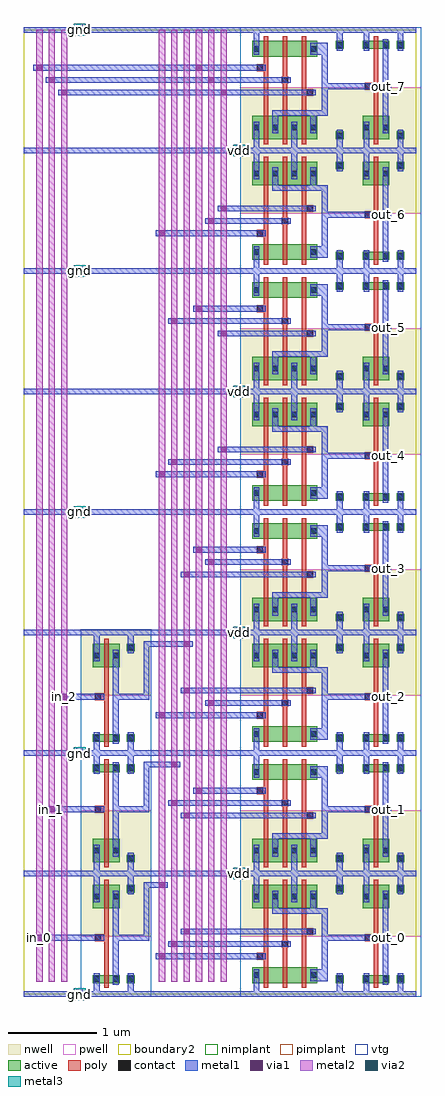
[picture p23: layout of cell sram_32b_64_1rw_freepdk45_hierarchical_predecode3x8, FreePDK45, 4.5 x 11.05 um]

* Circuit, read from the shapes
.subckt sram_32b_64_1rw_freepdk45_hierarchical_predecode3x8 gnd in_0 in_1 in_2 out_0 out_1 out_2 out_3 out_4 out_5 out_6 out_7 vdd
M1 sram_32b_64_1rw_freepdk45_and3_dec_3/A in_0 gnd gnd nfet w=0.09u l=0.05u
M2 sram_32b_64_1rw_freepdk45_and3_dec_3/B in_1 gnd gnd nfet w=0.09u l=0.05u
M3 sram_32b_64_1rw_freepdk45_and3_dec_3/C in_2 gnd gnd nfet w=0.09u l=0.05u
M4 sram_32b_64_1rw_freepdk45_and3_dec_3/sram_32b_64_1rw_freepdk45_pnand3_0/sram_32b_64_1rw_freepdk45_nmos_m1_w0_180_sm1_dactive_3/D sram_32b_64_1rw_freepdk45_and3_dec_3/A gnd gnd nfet w=0.18u l=0.05u
M5 sram_32b_64_1rw_freepdk45_and3_dec_4/sram_32b_64_1rw_freepdk45_pnand3_0/sram_32b_64_1rw_freepdk45_nmos_m1_w0_180_sm1_dactive_3/D in_0 gnd gnd nfet w=0.18u l=0.05u
M6 sram_32b_64_1rw_freepdk45_and3_dec_5/sram_32b_64_1rw_freepdk45_pnand3_0/sram_32b_64_1rw_freepdk45_nmos_m1_w0_180_sm1_dactive_3/D sram_32b_64_1rw_freepdk45_and3_dec_3/A gnd gnd nfet w=0.18u l=0.05u
M7 sram_32b_64_1rw_freepdk45_and3_dec_6/sram_32b_64_1rw_freepdk45_pnand3_0/sram_32b_64_1rw_freepdk45_nmos_m1_w0_180_sm1_dactive_3/D in_0 gnd gnd nfet w=0.18u l=0.05u
M8 sram_32b_64_1rw_freepdk45_and3_dec_7/sram_32b_64_1rw_freepdk45_pnand3_0/sram_32b_64_1rw_freepdk45_nmos_m1_w0_180_sm1_dactive_3/D sram_32b_64_1rw_freepdk45_and3_dec_3/A gnd gnd nfet w=0.18u l=0.05u
M9 sram_32b_64_1rw_freepdk45_and3_dec_8/sram_32b_64_1rw_freepdk45_pnand3_0/sram_32b_64_1rw_freepdk45_nmos_m1_w0_180_sm1_dactive_3/D in_0 gnd gnd nfet w=0.18u l=0.05u
M10 sram_32b_64_1rw_freepdk45_and3_dec_9/sram_32b_64_1rw_freepdk45_pnand3_0/sram_32b_64_1rw_freepdk45_nmos_m1_w0_180_sm1_dactive_3/D sram_32b_64_1rw_freepdk45_and3_dec_3/A gnd gnd nfet w=0.18u l=0.05u
M11 sram_32b_64_1rw_freepdk45_and3_dec_10/sram_32b_64_1rw_freepdk45_pnand3_0/sram_32b_64_1rw_freepdk45_nmos_m1_w0_180_sm1_dactive_3/D in_0 gnd gnd nfet w=0.18u l=0.05u
M12 sram_32b_64_1rw_freepdk45_and3_dec_3/sram_32b_64_1rw_freepdk45_pnand3_0/sram_32b_64_1rw_freepdk45_nmos_m1_w0_180_sactive_dactive_4/D sram_32b_64_1rw_freepdk45_and3_dec_3/B sram_32b_64_1rw_freepdk45_and3_dec_3/sram_32b_64_1rw_freepdk45_pnand3_0/sram_32b_64_1rw_freepdk45_nmos_m1_w0_180_sm1_dactive_3/D gnd nfet w=0.18u l=0.05u
M13 sram_32b_64_1rw_freepdk45_and3_dec_4/sram_32b_64_1rw_freepdk45_pnand3_0/sram_32b_64_1rw_freepdk45_nmos_m1_w0_180_sactive_dactive_4/D sram_32b_64_1rw_freepdk45_and3_dec_3/B sram_32b_64_1rw_freepdk45_and3_dec_4/sram_32b_64_1rw_freepdk45_pnand3_0/sram_32b_64_1rw_freepdk45_nmos_m1_w0_180_sm1_dactive_3/D gnd nfet w=0.18u l=0.05u
M14 sram_32b_64_1rw_freepdk45_and3_dec_5/sram_32b_64_1rw_freepdk45_pnand3_0/sram_32b_64_1rw_freepdk45_nmos_m1_w0_180_sactive_dactive_4/D in_1 sram_32b_64_1rw_freepdk45_and3_dec_5/sram_32b_64_1rw_freepdk45_pnand3_0/sram_32b_64_1rw_freepdk45_nmos_m1_w0_180_sm1_dactive_3/D gnd nfet w=0.18u l=0.05u
M15 sram_32b_64_1rw_freepdk45_and3_dec_6/sram_32b_64_1rw_freepdk45_pnand3_0/sram_32b_64_1rw_freepdk45_nmos_m1_w0_180_sactive_dactive_4/D in_1 sram_32b_64_1rw_freepdk45_and3_dec_6/sram_32b_64_1rw_freepdk45_pnand3_0/sram_32b_64_1rw_freepdk45_nmos_m1_w0_180_sm1_dactive_3/D gnd nfet w=0.18u l=0.05u
M16 sram_32b_64_1rw_freepdk45_and3_dec_7/sram_32b_64_1rw_freepdk45_pnand3_0/sram_32b_64_1rw_freepdk45_nmos_m1_w0_180_sactive_dactive_4/D sram_32b_64_1rw_freepdk45_and3_dec_3/B sram_32b_64_1rw_freepdk45_and3_dec_7/sram_32b_64_1rw_freepdk45_pnand3_0/sram_32b_64_1rw_freepdk45_nmos_m1_w0_180_sm1_dactive_3/D gnd nfet w=0.18u l=0.05u
M17 sram_32b_64_1rw_freepdk45_and3_dec_8/sram_32b_64_1rw_freepdk45_pnand3_0/sram_32b_64_1rw_freepdk45_nmos_m1_w0_180_sactive_dactive_4/D sram_32b_64_1rw_freepdk45_and3_dec_3/B sram_32b_64_1rw_freepdk45_and3_dec_8/sram_32b_64_1rw_freepdk45_pnand3_0/sram_32b_64_1rw_freepdk45_nmos_m1_w0_180_sm1_dactive_3/D gnd nfet w=0.18u l=0.05u
M18 sram_32b_64_1rw_freepdk45_and3_dec_9/sram_32b_64_1rw_freepdk45_pnand3_0/sram_32b_64_1rw_freepdk45_nmos_m1_w0_180_sactive_dactive_4/D in_1 sram_32b_64_1rw_freepdk45_and3_dec_9/sram_32b_64_1rw_freepdk45_pnand3_0/sram_32b_64_1rw_freepdk45_nmos_m1_w0_180_sm1_dactive_3/D gnd nfet w=0.18u l=0.05u
M19 sram_32b_64_1rw_freepdk45_and3_dec_10/sram_32b_64_1rw_freepdk45_pnand3_0/sram_32b_64_1rw_freepdk45_nmos_m1_w0_180_sactive_dactive_4/D in_1 sram_32b_64_1rw_freepdk45_and3_dec_10/sram_32b_64_1rw_freepdk45_pnand3_0/sram_32b_64_1rw_freepdk45_nmos_m1_w0_180_sm1_dactive_3/D gnd nfet w=0.18u l=0.05u
M20 sram_32b_64_1rw_freepdk45_and3_dec_3/sram_32b_64_1rw_freepdk45_pinv_1/A sram_32b_64_1rw_freepdk45_and3_dec_3/C sram_32b_64_1rw_freepdk45_and3_dec_3/sram_32b_64_1rw_freepdk45_pnand3_0/sram_32b_64_1rw_freepdk45_nmos_m1_w0_180_sactive_dactive_4/D gnd nfet w=0.18u l=0.05u
M21 sram_32b_64_1rw_freepdk45_and3_dec_4/sram_32b_64_1rw_freepdk45_pinv_1/A sram_32b_64_1rw_freepdk45_and3_dec_3/C sram_32b_64_1rw_freepdk45_and3_dec_4/sram_32b_64_1rw_freepdk45_pnand3_0/sram_32b_64_1rw_freepdk45_nmos_m1_w0_180_sactive_dactive_4/D gnd nfet w=0.18u l=0.05u
M22 sram_32b_64_1rw_freepdk45_and3_dec_5/sram_32b_64_1rw_freepdk45_pinv_1/A sram_32b_64_1rw_freepdk45_and3_dec_3/C sram_32b_64_1rw_freepdk45_and3_dec_5/sram_32b_64_1rw_freepdk45_pnand3_0/sram_32b_64_1rw_freepdk45_nmos_m1_w0_180_sactive_dactive_4/D gnd nfet w=0.18u l=0.05u
M23 sram_32b_64_1rw_freepdk45_and3_dec_6/sram_32b_64_1rw_freepdk45_pinv_1/A sram_32b_64_1rw_freepdk45_and3_dec_3/C sram_32b_64_1rw_freepdk45_and3_dec_6/sram_32b_64_1rw_freepdk45_pnand3_0/sram_32b_64_1rw_freepdk45_nmos_m1_w0_180_sactive_dactive_4/D gnd nfet w=0.18u l=0.05u
M24 sram_32b_64_1rw_freepdk45_and3_dec_7/sram_32b_64_1rw_freepdk45_pinv_1/A in_2 sram_32b_64_1rw_freepdk45_and3_dec_7/sram_32b_64_1rw_freepdk45_pnand3_0/sram_32b_64_1rw_freepdk45_nmos_m1_w0_180_sactive_dactive_4/D gnd nfet w=0.18u l=0.05u
M25 sram_32b_64_1rw_freepdk45_and3_dec_8/sram_32b_64_1rw_freepdk45_pinv_1/A in_2 sram_32b_64_1rw_freepdk45_and3_dec_8/sram_32b_64_1rw_freepdk45_pnand3_0/sram_32b_64_1rw_freepdk45_nmos_m1_w0_180_sactive_dactive_4/D gnd nfet w=0.18u l=0.05u
M26 sram_32b_64_1rw_freepdk45_and3_dec_9/sram_32b_64_1rw_freepdk45_pinv_1/A in_2 sram_32b_64_1rw_freepdk45_and3_dec_9/sram_32b_64_1rw_freepdk45_pnand3_0/sram_32b_64_1rw_freepdk45_nmos_m1_w0_180_sactive_dactive_4/D gnd nfet w=0.18u l=0.05u
M27 sram_32b_64_1rw_freepdk45_and3_dec_10/sram_32b_64_1rw_freepdk45_pinv_1/A in_2 sram_32b_64_1rw_freepdk45_and3_dec_10/sram_32b_64_1rw_freepdk45_pnand3_0/sram_32b_64_1rw_freepdk45_nmos_m1_w0_180_sactive_dactive_4/D gnd nfet w=0.18u l=0.05u
M28 out_0 sram_32b_64_1rw_freepdk45_and3_dec_3/sram_32b_64_1rw_freepdk45_pinv_1/A gnd gnd nfet w=0.09u l=0.05u
M29 out_1 sram_32b_64_1rw_freepdk45_and3_dec_4/sram_32b_64_1rw_freepdk45_pinv_1/A gnd gnd nfet w=0.09u l=0.05u
M30 out_2 sram_32b_64_1rw_freepdk45_and3_dec_5/sram_32b_64_1rw_freepdk45_pinv_1/A gnd gnd nfet w=0.09u l=0.05u
M31 out_3 sram_32b_64_1rw_freepdk45_and3_dec_6/sram_32b_64_1rw_freepdk45_pinv_1/A gnd gnd nfet w=0.09u l=0.05u
M32 out_4 sram_32b_64_1rw_freepdk45_and3_dec_7/sram_32b_64_1rw_freepdk45_pinv_1/A gnd gnd nfet w=0.09u l=0.05u
M33 out_5 sram_32b_64_1rw_freepdk45_and3_dec_8/sram_32b_64_1rw_freepdk45_pinv_1/A gnd gnd nfet w=0.09u l=0.05u
M34 out_6 sram_32b_64_1rw_freepdk45_and3_dec_9/sram_32b_64_1rw_freepdk45_pinv_1/A gnd gnd nfet w=0.09u l=0.05u
M35 out_7 sram_32b_64_1rw_freepdk45_and3_dec_10/sram_32b_64_1rw_freepdk45_pinv_1/A gnd gnd nfet w=0.09u l=0.05u
M36 sram_32b_64_1rw_freepdk45_and3_dec_3/A in_0 vdd vdd pfet w=0.27u l=0.05u
M37 sram_32b_64_1rw_freepdk45_and3_dec_3/B in_1 vdd vdd pfet w=0.27u l=0.05u
M38 sram_32b_64_1rw_freepdk45_and3_dec_3/C in_2 vdd vdd pfet w=0.27u l=0.05u
M39 sram_32b_64_1rw_freepdk45_and3_dec_3/sram_32b_64_1rw_freepdk45_pinv_1/A sram_32b_64_1rw_freepdk45_and3_dec_3/A vdd vdd pfet w=0.27u l=0.05u
M40 sram_32b_64_1rw_freepdk45_and3_dec_4/sram_32b_64_1rw_freepdk45_pinv_1/A in_0 vdd vdd pfet w=0.27u l=0.05u
M41 sram_32b_64_1rw_freepdk45_and3_dec_5/sram_32b_64_1rw_freepdk45_pinv_1/A sram_32b_64_1rw_freepdk45_and3_dec_3/A vdd vdd pfet w=0.27u l=0.05u
M42 sram_32b_64_1rw_freepdk45_and3_dec_6/sram_32b_64_1rw_freepdk45_pinv_1/A in_0 vdd vdd pfet w=0.27u l=0.05u
M43 sram_32b_64_1rw_freepdk45_and3_dec_7/sram_32b_64_1rw_freepdk45_pinv_1/A sram_32b_64_1rw_freepdk45_and3_dec_3/A vdd vdd pfet w=0.27u l=0.05u
M44 sram_32b_64_1rw_freepdk45_and3_dec_8/sram_32b_64_1rw_freepdk45_pinv_1/A in_0 vdd vdd pfet w=0.27u l=0.05u
M45 sram_32b_64_1rw_freepdk45_and3_dec_9/sram_32b_64_1rw_freepdk45_pinv_1/A sram_32b_64_1rw_freepdk45_and3_dec_3/A vdd vdd pfet w=0.27u l=0.05u
M46 sram_32b_64_1rw_freepdk45_and3_dec_10/sram_32b_64_1rw_freepdk45_pinv_1/A in_0 vdd vdd pfet w=0.27u l=0.05u
M47 vdd sram_32b_64_1rw_freepdk45_and3_dec_3/B sram_32b_64_1rw_freepdk45_and3_dec_3/sram_32b_64_1rw_freepdk45_pinv_1/A vdd pfet w=0.27u l=0.05u
M48 vdd sram_32b_64_1rw_freepdk45_and3_dec_3/B sram_32b_64_1rw_freepdk45_and3_dec_4/sram_32b_64_1rw_freepdk45_pinv_1/A vdd pfet w=0.27u l=0.05u
M49 vdd in_1 sram_32b_64_1rw_freepdk45_and3_dec_5/sram_32b_64_1rw_freepdk45_pinv_1/A vdd pfet w=0.27u l=0.05u
M50 vdd in_1 sram_32b_64_1rw_freepdk45_and3_dec_6/sram_32b_64_1rw_freepdk45_pinv_1/A vdd pfet w=0.27u l=0.05u
M51 vdd sram_32b_64_1rw_freepdk45_and3_dec_3/B sram_32b_64_1rw_freepdk45_and3_dec_7/sram_32b_64_1rw_freepdk45_pinv_1/A vdd pfet w=0.27u l=0.05u
M52 vdd sram_32b_64_1rw_freepdk45_and3_dec_3/B sram_32b_64_1rw_freepdk45_and3_dec_8/sram_32b_64_1rw_freepdk45_pinv_1/A vdd pfet w=0.27u l=0.05u
M53 vdd in_1 sram_32b_64_1rw_freepdk45_and3_dec_9/sram_32b_64_1rw_freepdk45_pinv_1/A vdd pfet w=0.27u l=0.05u
M54 vdd in_1 sram_32b_64_1rw_freepdk45_and3_dec_10/sram_32b_64_1rw_freepdk45_pinv_1/A vdd pfet w=0.27u l=0.05u
M55 sram_32b_64_1rw_freepdk45_and3_dec_3/sram_32b_64_1rw_freepdk45_pinv_1/A sram_32b_64_1rw_freepdk45_and3_dec_3/C vdd vdd pfet w=0.27u l=0.05u
M56 sram_32b_64_1rw_freepdk45_and3_dec_4/sram_32b_64_1rw_freepdk45_pinv_1/A sram_32b_64_1rw_freepdk45_and3_dec_3/C vdd vdd pfet w=0.27u l=0.05u
M57 sram_32b_64_1rw_freepdk45_and3_dec_5/sram_32b_64_1rw_freepdk45_pinv_1/A sram_32b_64_1rw_freepdk45_and3_dec_3/C vdd vdd pfet w=0.27u l=0.05u
M58 sram_32b_64_1rw_freepdk45_and3_dec_6/sram_32b_64_1rw_freepdk45_pinv_1/A sram_32b_64_1rw_freepdk45_and3_dec_3/C vdd vdd pfet w=0.27u l=0.05u
M59 sram_32b_64_1rw_freepdk45_and3_dec_7/sram_32b_64_1rw_freepdk45_pinv_1/A in_2 vdd vdd pfet w=0.27u l=0.05u
M60 sram_32b_64_1rw_freepdk45_and3_dec_8/sram_32b_64_1rw_freepdk45_pinv_1/A in_2 vdd vdd pfet w=0.27u l=0.05u
M61 sram_32b_64_1rw_freepdk45_and3_dec_9/sram_32b_64_1rw_freepdk45_pinv_1/A in_2 vdd vdd pfet w=0.27u l=0.05u
M62 sram_32b_64_1rw_freepdk45_and3_dec_10/sram_32b_64_1rw_freepdk45_pinv_1/A in_2 vdd vdd pfet w=0.27u l=0.05u
M63 out_0 sram_32b_64_1rw_freepdk45_and3_dec_3/sram_32b_64_1rw_freepdk45_pinv_1/A vdd vdd pfet w=0.27u l=0.05u
M64 out_1 sram_32b_64_1rw_freepdk45_and3_dec_4/sram_32b_64_1rw_freepdk45_pinv_1/A vdd vdd pfet w=0.27u l=0.05u
M65 out_2 sram_32b_64_1rw_freepdk45_and3_dec_5/sram_32b_64_1rw_freepdk45_pinv_1/A vdd vdd pfet w=0.27u l=0.05u
M66 out_3 sram_32b_64_1rw_freepdk45_and3_dec_6/sram_32b_64_1rw_freepdk45_pinv_1/A vdd vdd pfet w=0.27u l=0.05u
M67 out_4 sram_32b_64_1rw_freepdk45_and3_dec_7/sram_32b_64_1rw_freepdk45_pinv_1/A vdd vdd pfet w=0.27u l=0.05u
M68 out_5 sram_32b_64_1rw_freepdk45_and3_dec_8/sram_32b_64_1rw_freepdk45_pinv_1/A vdd vdd pfet w=0.27u l=0.05u
M69 out_6 sram_32b_64_1rw_freepdk45_and3_dec_9/sram_32b_64_1rw_freepdk45_pinv_1/A vdd vdd pfet w=0.27u l=0.05u
M70 out_7 sram_32b_64_1rw_freepdk45_and3_dec_10/sram_32b_64_1rw_freepdk45_pinv_1/A vdd vdd pfet w=0.27u l=0.05u
.ends

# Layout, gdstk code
import gdstk
lib = gdstk.Library(unit=1e-6, precision=5e-10)
def R(c, l, rs):  # rectangles x0, y0, x1, y1
    for r in rs: c.add(gdstk.rectangle(r[:2], r[2:], *l))
def A(c, l, x, y, w, h, nx, ny, dx, dy):  # array of equal rectangles
    R(c, l, [(x+i*dx, y+j*dy, x+i*dx+w, y+j*dy+h) for i in range(nx) for j in range(ny)])
active = (1, 0)
pwell = (2, 0)
nwell = (3, 0)
nimplant = (4, 0)
pimplant = (5, 0)
vtg = (6, 0)
poly = (9, 0)
contact = (10, 0)
metal1 = (11, 0)
via1 = (12, 0)
metal2 = (13, 0)
via2 = (14, 0)
metal3 = (15, 0)
boundary2 = (239, 0)

sram_32b_64_1rw_freepdk4 = lib.new_cell('sram_32b_64_1rw_freepdk45_contact_11')
R(sram_32b_64_1rw_freepdk4, active, [(0,0.0225,0.09,0.1125)])
R(sram_32b_64_1rw_freepdk4, nwell, [(-0.055,-0.0325,0.145,0.1675)])
R(sram_32b_64_1rw_freepdk4, pimplant, [(0,0.0225,0.09,0.1125)])
R(sram_32b_64_1rw_freepdk4, contact, [(0.0125,0.035,0.0775,0.1)])
R(sram_32b_64_1rw_freepdk4, metal1, [(0.0125,0,0.0775,0.135)])
R(sram_32b_64_1rw_freepdk4, boundary2, [(-0.055,-0.0325,0.145,0.1675)])

c_sram_32b_64_1rw_freepdk4 = lib.new_cell('sram_32b_64_1rw_freepdk45_pmos_m1_w0_270_sm1_dm1_da_p')
R(c_sram_32b_64_1rw_freepdk4, active, [(0,0,0.305,0.27)])
R(c_sram_32b_64_1rw_freepdk4, nwell, [(-0.08,-0.08,0.385,0.35)])
R(c_sram_32b_64_1rw_freepdk4, pimplant, [(0,0,0.305,0.27)])
R(c_sram_32b_64_1rw_freepdk4, vtg, [(-0.08,-0.08,0.385,0.35)])
R(c_sram_32b_64_1rw_freepdk4, poly, [(0.1275,-0.055,0.1775,0.325), (0.1275,-0.055,0.1775,0.325)])
R(c_sram_32b_64_1rw_freepdk4, metal1, [(0.0125,0.0675,0.0775,0.2025), (0.2275,0.0675,0.2925,0.2025)])
R(c_sram_32b_64_1rw_freepdk4, boundary2, [(-0.08,-0.08,0.385,0.35)])
c_sram_32b_64_1rw_freepdk4.add(gdstk.Reference(sram_32b_64_1rw_freepdk4, (0,0.0675)))
c_sram_32b_64_1rw_freepdk4.add(gdstk.Reference(sram_32b_64_1rw_freepdk4, (0.215,0.0675)))
c_sram_32b_64_1rw_freepdk4.add(gdstk.Label('G', (0.1525,0.135), layer=9, texttype=0))
c_sram_32b_64_1rw_freepdk4.add(gdstk.Label('S', (0.045,0.135), layer=11, texttype=0))
c_sram_32b_64_1rw_freepdk4.add(gdstk.Label('D', (0.26,0.135), layer=11, texttype=0))

c_sram_32b_64_1rw_freepdk4_ = lib.new_cell('sram_32b_64_1rw_freepdk45_contact_10')
R(c_sram_32b_64_1rw_freepdk4_, active, [(0,0.0225,0.09,0.1125)])
R(c_sram_32b_64_1rw_freepdk4_, pwell, [(-0.055,-0.0325,0.145,0.1675)])
R(c_sram_32b_64_1rw_freepdk4_, nimplant, [(0,0.0225,0.09,0.1125)])
R(c_sram_32b_64_1rw_freepdk4_, contact, [(0.0125,0.035,0.0775,0.1)])
R(c_sram_32b_64_1rw_freepdk4_, metal1, [(0.0125,0,0.0775,0.135)])
R(c_sram_32b_64_1rw_freepdk4_, boundary2, [(-0.055,-0.0325,0.145,0.1675)])

c_sram_32b_64_1rw_freepdk4__ = lib.new_cell('sram_32b_64_1rw_freepdk45_nmos_m1_w0_090_sm1_dm1_da_p')
R(c_sram_32b_64_1rw_freepdk4__, active, [(0,0,0.305,0.09)])
R(c_sram_32b_64_1rw_freepdk4__, pwell, [(-0.08,-0.08,0.385,0.17)])
R(c_sram_32b_64_1rw_freepdk4__, nimplant, [(0,0,0.305,0.09)])
R(c_sram_32b_64_1rw_freepdk4__, vtg, [(-0.08,-0.08,0.385,0.17)])
R(c_sram_32b_64_1rw_freepdk4__, poly, [(0.1275,-0.055,0.1775,0.145), (0.1275,-0.055,0.1775,0.145)])
R(c_sram_32b_64_1rw_freepdk4__, metal1, [(0.0125,-0.0225,0.0775,0.1125), (0.2275,-0.0225,0.2925,0.1125)])
R(c_sram_32b_64_1rw_freepdk4__, boundary2, [(-0.08,-0.08,0.385,0.17)])
c_sram_32b_64_1rw_freepdk4__.add(gdstk.Reference(c_sram_32b_64_1rw_freepdk4_, (0,-0.0225)))
c_sram_32b_64_1rw_freepdk4__.add(gdstk.Reference(c_sram_32b_64_1rw_freepdk4_, (0.215,-0.0225)))
c_sram_32b_64_1rw_freepdk4__.add(gdstk.Label('G', (0.1525,0.045), layer=9, texttype=0))
c_sram_32b_64_1rw_freepdk4__.add(gdstk.Label('S', (0.045,0.045), layer=11, texttype=0))
c_sram_32b_64_1rw_freepdk4__.add(gdstk.Label('D', (0.26,0.045), layer=11, texttype=0))

c_sram_32b_64_1rw_freepdk4___ = lib.new_cell('sram_32b_64_1rw_freepdk45_contact_12')
R(c_sram_32b_64_1rw_freepdk4___, active, [(0,0.0225,0.09,0.1125)])
R(c_sram_32b_64_1rw_freepdk4___, nwell, [(-0.055,-0.0325,0.145,0.1675)])
R(c_sram_32b_64_1rw_freepdk4___, nimplant, [(0,0.0225,0.09,0.1125)])
R(c_sram_32b_64_1rw_freepdk4___, contact, [(0.0125,0.035,0.0775,0.1)])
R(c_sram_32b_64_1rw_freepdk4___, metal1, [(0.0125,0,0.0775,0.135)])
R(c_sram_32b_64_1rw_freepdk4___, boundary2, [(-0.055,-0.0325,0.145,0.1675)])

c_sram_32b_64_1rw_freepdk4____ = lib.new_cell('sram_32b_64_1rw_freepdk45_contact_13')
R(c_sram_32b_64_1rw_freepdk4____, active, [(0,0.0225,0.09,0.1125)])
R(c_sram_32b_64_1rw_freepdk4____, pwell, [(-0.055,-0.0325,0.145,0.1675)])
R(c_sram_32b_64_1rw_freepdk4____, pimplant, [(0,0.0225,0.09,0.1125)])
R(c_sram_32b_64_1rw_freepdk4____, contact, [(0.0125,0.035,0.0775,0.1)])
R(c_sram_32b_64_1rw_freepdk4____, metal1, [(0.0125,0,0.0775,0.135)])
R(c_sram_32b_64_1rw_freepdk4____, boundary2, [(-0.055,-0.0325,0.145,0.1675)])

c_sram_32b_64_1rw_freepdk4_____ = lib.new_cell('sram_32b_64_1rw_freepdk45_contact_14')
R(c_sram_32b_64_1rw_freepdk4_____, poly, [(0.03,0,0.105,0.075)])
R(c_sram_32b_64_1rw_freepdk4_____, contact, [(0.035,0.005,0.1,0.07)])
R(c_sram_32b_64_1rw_freepdk4_____, metal1, [(0,0.005,0.135,0.07)])
R(c_sram_32b_64_1rw_freepdk4_____, boundary2, [(0,0,0.135,0.075)])

c_sram_32b_64_1rw_freepdk4______ = lib.new_cell('sram_32b_64_1rw_freepdk45_pinv')
R(c_sram_32b_64_1rw_freepdk4______, pwell, [(-0.055,-0.0325,0.7425,0.655)])
R(c_sram_32b_64_1rw_freepdk4______, nwell, [(-0.055,0.655,0.7425,1.4)])
R(c_sram_32b_64_1rw_freepdk4______, vtg, [(-0.055,-0.0325,0.7425,0.655), (-0.055,0.655,0.7425,1.4)])
R(c_sram_32b_64_1rw_freepdk4______, poly, [(0.2075,0.27,0.2575,0.915), (0.14,0.6,0.2075,0.675)])
R(c_sram_32b_64_1rw_freepdk4______, metal1, [(0,-0.0325,0.6875,0.0325), (0.0925,-0.0325,0.1575,0.1025), (0.4775,0,0.5425,0.17), (0.3075,0.1025,0.3725,1.1725), (0.0725,0.605,0.2075,0.67), (0.34,0.605,0.405,0.67), (0.0925,1.0375,0.1575,1.3975), (0.4775,1.195,0.5425,1.365), (0,1.3325,0.6875,1.3975)])
R(c_sram_32b_64_1rw_freepdk4______, boundary2, [(0,0,0.6875,1.365), (0,0,0.6875,1.365)])
c_sram_32b_64_1rw_freepdk4______.add(gdstk.Reference(c_sram_32b_64_1rw_freepdk4, (0.08,0.97)))
c_sram_32b_64_1rw_freepdk4______.add(gdstk.Reference(c_sram_32b_64_1rw_freepdk4__, (0.08,0.125)))
c_sram_32b_64_1rw_freepdk4______.add(gdstk.Reference(c_sram_32b_64_1rw_freepdk4___, (0.465,1.1275)))
c_sram_32b_64_1rw_freepdk4______.add(gdstk.Reference(c_sram_32b_64_1rw_freepdk4____, (0.465,0.1025)))
c_sram_32b_64_1rw_freepdk4______.add(gdstk.Reference(c_sram_32b_64_1rw_freepdk4_____, (0.0725,0.6)))
c_sram_32b_64_1rw_freepdk4______.add(gdstk.Label('A', (0.14,0.6375), layer=11, texttype=0))
c_sram_32b_64_1rw_freepdk4______.add(gdstk.Label('Z', (0.3725,0.6375), layer=11, texttype=0))
c_sram_32b_64_1rw_freepdk4______.add(gdstk.Label('gnd', (0.344,0), layer=11, texttype=0))
c_sram_32b_64_1rw_freepdk4______.add(gdstk.Label('vdd', (0.344,1.365), layer=11, texttype=0))

c_sram_32b_64_1rw_freepdk4_______ = lib.new_cell('sram_32b_64_1rw_freepdk45_pmos_m1_w0_270_sm1_dm1')
R(c_sram_32b_64_1rw_freepdk4_______, active, [(0,0,0.305,0.27)])
R(c_sram_32b_64_1rw_freepdk4_______, nwell, [(-0.08,-0.08,0.385,0.35)])
R(c_sram_32b_64_1rw_freepdk4_______, pimplant, [(0,0,0.305,0.27)])
R(c_sram_32b_64_1rw_freepdk4_______, vtg, [(-0.08,-0.08,0.385,0.35)])
R(c_sram_32b_64_1rw_freepdk4_______, poly, [(0.1275,-0.055,0.1775,0.325), (0.1275,-0.055,0.1775,0.325)])
R(c_sram_32b_64_1rw_freepdk4_______, metal1, [(0.0125,0.0675,0.0775,0.2025), (0.2275,0.0675,0.2925,0.2025)])
R(c_sram_32b_64_1rw_freepdk4_______, boundary2, [(-0.08,-0.08,0.385,0.35)])
c_sram_32b_64_1rw_freepdk4_______.add(gdstk.Reference(sram_32b_64_1rw_freepdk4, (0,0.0675)))
c_sram_32b_64_1rw_freepdk4_______.add(gdstk.Reference(sram_32b_64_1rw_freepdk4, (0.215,0.0675)))
c_sram_32b_64_1rw_freepdk4_______.add(gdstk.Label('G', (0.1525,0.135), layer=9, texttype=0))
c_sram_32b_64_1rw_freepdk4_______.add(gdstk.Label('S', (0.045,0.135), layer=11, texttype=0))
c_sram_32b_64_1rw_freepdk4_______.add(gdstk.Label('D', (0.26,0.135), layer=11, texttype=0))

c_sram_32b_64_1rw_freepdk4________ = lib.new_cell('sram_32b_64_1rw_freepdk45_nmos_m1_w0_180_sm1_dactive')
R(c_sram_32b_64_1rw_freepdk4________, active, [(0,0,0.305,0.18), (0.215,0.045,0.305,0.135)])
R(c_sram_32b_64_1rw_freepdk4________, pwell, [(-0.08,-0.08,0.385,0.26)])
R(c_sram_32b_64_1rw_freepdk4________, nimplant, [(0,0,0.305,0.18)])
R(c_sram_32b_64_1rw_freepdk4________, vtg, [(-0.08,-0.08,0.385,0.26)])
R(c_sram_32b_64_1rw_freepdk4________, poly, [(0.1275,-0.055,0.1775,0.235), (0.1275,-0.055,0.1775,0.235)])
R(c_sram_32b_64_1rw_freepdk4________, metal1, [(0.0125,0.0225,0.0775,0.1575)])
R(c_sram_32b_64_1rw_freepdk4________, boundary2, [(-0.08,-0.08,0.385,0.26)])
c_sram_32b_64_1rw_freepdk4________.add(gdstk.Reference(c_sram_32b_64_1rw_freepdk4_, (0,0.0225)))
c_sram_32b_64_1rw_freepdk4________.add(gdstk.Label('G', (0.1525,0.09), layer=9, texttype=0))
c_sram_32b_64_1rw_freepdk4________.add(gdstk.Label('S', (0.045,0.09), layer=11, texttype=0))
c_sram_32b_64_1rw_freepdk4________.add(gdstk.Label('D', (0.26,0.09), layer=1, texttype=0))

c_sram_32b_64_1rw_freepdk4_________ = lib.new_cell('sram_32b_64_1rw_freepdk45_nmos_m1_w0_180_sactive_dactive')
R(c_sram_32b_64_1rw_freepdk4_________, active, [(0,0,0.305,0.18), (0,0.045,0.09,0.135), (0.215,0.045,0.305,0.135)])
R(c_sram_32b_64_1rw_freepdk4_________, pwell, [(-0.08,-0.08,0.385,0.26)])
R(c_sram_32b_64_1rw_freepdk4_________, nimplant, [(0,0,0.305,0.18)])
R(c_sram_32b_64_1rw_freepdk4_________, vtg, [(-0.08,-0.08,0.385,0.26)])
R(c_sram_32b_64_1rw_freepdk4_________, poly, [(0.1275,-0.055,0.1775,0.235), (0.1275,-0.055,0.1775,0.235)])
R(c_sram_32b_64_1rw_freepdk4_________, boundary2, [(-0.08,-0.08,0.385,0.26)])
c_sram_32b_64_1rw_freepdk4_________.add(gdstk.Label('G', (0.1525,0.09), layer=9, texttype=0))
c_sram_32b_64_1rw_freepdk4_________.add(gdstk.Label('S', (0.045,0.09), layer=1, texttype=0))
c_sram_32b_64_1rw_freepdk4_________.add(gdstk.Label('D', (0.26,0.09), layer=1, texttype=0))

c_sram_32b_64_1rw_freepdk4__________ = lib.new_cell('sram_32b_64_1rw_freepdk45_nmos_m1_w0_180_sactive_dm1')
R(c_sram_32b_64_1rw_freepdk4__________, active, [(0,0,0.305,0.18), (0,0.045,0.09,0.135)])
R(c_sram_32b_64_1rw_freepdk4__________, pwell, [(-0.08,-0.08,0.385,0.26)])
R(c_sram_32b_64_1rw_freepdk4__________, nimplant, [(0,0,0.305,0.18)])
R(c_sram_32b_64_1rw_freepdk4__________, vtg, [(-0.08,-0.08,0.385,0.26)])
R(c_sram_32b_64_1rw_freepdk4__________, poly, [(0.1275,-0.055,0.1775,0.235), (0.1275,-0.055,0.1775,0.235)])
R(c_sram_32b_64_1rw_freepdk4__________, metal1, [(0.2275,0.0225,0.2925,0.1575)])
R(c_sram_32b_64_1rw_freepdk4__________, boundary2, [(-0.08,-0.08,0.385,0.26)])
c_sram_32b_64_1rw_freepdk4__________.add(gdstk.Reference(c_sram_32b_64_1rw_freepdk4_, (0.215,0.0225)))
c_sram_32b_64_1rw_freepdk4__________.add(gdstk.Label('G', (0.1525,0.09), layer=9, texttype=0))
c_sram_32b_64_1rw_freepdk4__________.add(gdstk.Label('S', (0.045,0.09), layer=1, texttype=0))
c_sram_32b_64_1rw_freepdk4__________.add(gdstk.Label('D', (0.26,0.09), layer=11, texttype=0))

c_sram_32b_64_1rw_freepdk4___________ = lib.new_cell('sram_32b_64_1rw_freepdk45_pnand3')
R(c_sram_32b_64_1rw_freepdk4___________, pwell, [(-0.055,-0.0325,1.3025,0.655)])
R(c_sram_32b_64_1rw_freepdk4___________, nwell, [(-0.055,0.655,1.3025,1.4)])
R(c_sram_32b_64_1rw_freepdk4___________, vtg, [(-0.055,-0.0325,1.3025,0.655), (-0.055,0.655,1.3025,1.4)])
A(c_sram_32b_64_1rw_freepdk4___________, poly, 0.2075, 0.36, 0.05, 0.555, 3, 1, 0.215, 0)
R(c_sram_32b_64_1rw_freepdk4___________, poly, [(0.165,0.39,0.2075,0.465), (0.4225,0.53,0.4475,0.605), (0.6375,0.67,0.73,0.745)])
R(c_sram_32b_64_1rw_freepdk4___________, metal1, [(0,-0.0325,1.2475,0.0325), (0.0925,-0.0325,0.1575,0.1475), (1.0375,0,1.1025,0.17), (0.77,0.1475,0.9,0.2825), (0.8675,0.1475,0.9325,0.94), (0.0975,0.395,0.2325,0.46), (0.38,0.535,0.515,0.6), (0.6625,0.675,0.7975,0.74), (0.3075,0.9075,0.3725,0.9725), (0.34,0.9075,0.9,0.9725), (0.7375,0.9075,0.8025,0.9725), (0.77,0.9075,0.9,0.9725), (0.8675,0.9075,0.9325,0.9725), (0.3075,0.94,0.3725,1.105), (0.7375,0.94,0.8025,1.105), (0.0925,1.0375,0.1575,1.3975), (0.5225,1.0375,0.5875,1.3975), (1.0375,1.195,1.1025,1.365), (0,1.3325,1.2475,1.3975)])
R(c_sram_32b_64_1rw_freepdk4___________, boundary2, [(0,0,1.2475,1.365), (0,0,1.2475,1.365)])
c_sram_32b_64_1rw_freepdk4___________.add(gdstk.Reference(c_sram_32b_64_1rw_freepdk4_______, (0.08,0.97)))
c_sram_32b_64_1rw_freepdk4___________.add(gdstk.Reference(c_sram_32b_64_1rw_freepdk4_______, (0.295,0.97)))
c_sram_32b_64_1rw_freepdk4___________.add(gdstk.Reference(c_sram_32b_64_1rw_freepdk4_______, (0.51,0.97)))
c_sram_32b_64_1rw_freepdk4___________.add(gdstk.Reference(c_sram_32b_64_1rw_freepdk4________, (0.08,0.125)))
c_sram_32b_64_1rw_freepdk4___________.add(gdstk.Reference(c_sram_32b_64_1rw_freepdk4_________, (0.295,0.125)))
c_sram_32b_64_1rw_freepdk4___________.add(gdstk.Reference(c_sram_32b_64_1rw_freepdk4__________, (0.51,0.125)))
c_sram_32b_64_1rw_freepdk4___________.add(gdstk.Reference(c_sram_32b_64_1rw_freepdk4___, (1.025,1.1275)))
c_sram_32b_64_1rw_freepdk4___________.add(gdstk.Reference(c_sram_32b_64_1rw_freepdk4____, (1.025,0.1025)))
c_sram_32b_64_1rw_freepdk4___________.add(gdstk.Reference(c_sram_32b_64_1rw_freepdk4_____, (0.0975,0.39)))
c_sram_32b_64_1rw_freepdk4___________.add(gdstk.Reference(c_sram_32b_64_1rw_freepdk4_____, (0.38,0.53)))
c_sram_32b_64_1rw_freepdk4___________.add(gdstk.Reference(c_sram_32b_64_1rw_freepdk4_____, (0.6625,0.67)))
c_sram_32b_64_1rw_freepdk4___________.add(gdstk.Label('A', (0.165,0.4275), layer=11, texttype=0))
c_sram_32b_64_1rw_freepdk4___________.add(gdstk.Label('B', (0.4475,0.5675), layer=11, texttype=0))
c_sram_32b_64_1rw_freepdk4___________.add(gdstk.Label('C', (0.73,0.7075), layer=11, texttype=0))
c_sram_32b_64_1rw_freepdk4___________.add(gdstk.Label('Z', (0.9,0.94), layer=11, texttype=0))
c_sram_32b_64_1rw_freepdk4___________.add(gdstk.Label('gnd', (0.624,0), layer=11, texttype=0))
c_sram_32b_64_1rw_freepdk4___________.add(gdstk.Label('vdd', (0.624,1.365), layer=11, texttype=0))

c_sram_32b_64_1rw_freepdk4____________ = lib.new_cell('sram_32b_64_1rw_freepdk45_and3_dec')
R(c_sram_32b_64_1rw_freepdk4____________, metal1, [(0,-0.0325,1.935,0.0325), (0.0975,0.395,0.2325,0.46), (0.38,0.535,0.515,0.6), (0.8675,0.605,0.9325,0.67), (0.9,0.605,1.3875,0.67), (1.5875,0.605,1.6525,0.67), (0.8675,0.6375,0.9325,0.94), (0.6625,0.675,0.7975,0.74), (0,1.3325,1.935,1.3975)])
R(c_sram_32b_64_1rw_freepdk4____________, boundary2, [(0,0,1.935,1.365)])
c_sram_32b_64_1rw_freepdk4____________.add(gdstk.Reference(c_sram_32b_64_1rw_freepdk4___________, (0,0)))
c_sram_32b_64_1rw_freepdk4____________.add(gdstk.Reference(c_sram_32b_64_1rw_freepdk4______, (1.2475,0)))
c_sram_32b_64_1rw_freepdk4____________.add(gdstk.Label('Z', (1.62,0.6375), layer=11, texttype=0))
c_sram_32b_64_1rw_freepdk4____________.add(gdstk.Label('A', (0.165,0.4275), layer=11, texttype=0))
c_sram_32b_64_1rw_freepdk4____________.add(gdstk.Label('B', (0.4475,0.5675), layer=11, texttype=0))
c_sram_32b_64_1rw_freepdk4____________.add(gdstk.Label('C', (0.73,0.7075), layer=11, texttype=0))
c_sram_32b_64_1rw_freepdk4____________.add(gdstk.Label('gnd', (0.9675,0), layer=11, texttype=0))
c_sram_32b_64_1rw_freepdk4____________.add(gdstk.Label('vdd', (0.9675,1.365), layer=11, texttype=0))

c_sram_32b_64_1rw_freepdk4_____________ = lib.new_cell('sram_32b_64_1rw_freepdk45_contact_15')
R(c_sram_32b_64_1rw_freepdk4_____________, metal1, [(0,0.035,0.135,0.1)])
R(c_sram_32b_64_1rw_freepdk4_____________, via1, [(0.035,0.035,0.1,0.1)])
R(c_sram_32b_64_1rw_freepdk4_____________, metal2, [(0.0325,0,0.1025,0.135)])
R(c_sram_32b_64_1rw_freepdk4_____________, boundary2, [(0,0,0.135,0.135)])

c_sram_32b_64_1rw_freepdk4______________ = lib.new_cell('sram_32b_64_1rw_freepdk45_contact_17')
R(c_sram_32b_64_1rw_freepdk4______________, metal1, [(0,0.035,0.135,0.1)])
R(c_sram_32b_64_1rw_freepdk4______________, via1, [(0.035,0.035,0.1,0.1)])
R(c_sram_32b_64_1rw_freepdk4______________, metal2, [(0.0325,0,0.1025,0.135)])
R(c_sram_32b_64_1rw_freepdk4______________, boundary2, [(0,0,0.135,0.135)])

c_sram_32b_64_1rw_freepdk4_______________ = lib.new_cell('sram_32b_64_1rw_freepdk45_contact_18')
R(c_sram_32b_64_1rw_freepdk4_______________, metal2, [(0.0325,0,0.1025,0.135)])
R(c_sram_32b_64_1rw_freepdk4_______________, via2, [(0.035,0.035,0.1,0.1)])
R(c_sram_32b_64_1rw_freepdk4_______________, metal3, [(0,0.0325,0.135,0.1025)])
R(c_sram_32b_64_1rw_freepdk4_______________, boundary2, [(0,0,0.135,0.135)])

c_sram_32b_64_1rw_freepdk4________________ = lib.new_cell('sram_32b_64_1rw_freepdk45_hierarchical_predecode3x8')
A(c_sram_32b_64_1rw_freepdk4________________, metal1, 1.5625, 0.395, 1.11, 0.065, 1, 4, 0, 2.73)
A(c_sram_32b_64_1rw_freepdk4________________, metal1, 1.9825, 2.27, 0.69, 0.065, 1, 4, 0, 2.73)
R(c_sram_32b_64_1rw_freepdk4________________, metal1, [(0,-0.0325,4.4425,0.0325), (2.64,0.395,2.705,0.46), (1.7025,0.535,2.955,0.6), (2.9225,0.535,2.9875,0.6), (0.175,0.605,0.84,0.67), (0.8075,0.605,0.8725,0.67), (1.0725,0.605,1.1375,0.67), (1.105,0.605,1.3875,0.67), (1.355,0.605,1.42,0.67), (4.095,0.605,4.16,0.67), (1.355,0.6375,1.42,1.235), (1.8425,0.675,3.2375,0.74), (3.205,0.675,3.27,0.74), (1.355,1.2025,1.42,1.2675), (1.3875,1.2025,1.5625,1.2675), (0,1.3325,4.4425,1.3975), (0,1.3325,4.4425,1.3975), (1.8425,1.99,3.2375,2.055), (3.205,1.99,3.27,2.055), (0.315,2.06,0.84,2.125), (0.8075,2.06,0.8725,2.125), (1.0725,2.06,1.1375,2.125), (1.105,2.06,1.3875,2.125), (1.355,2.06,1.42,2.125), (4.095,2.06,4.16,2.125), (1.355,2.0925,1.42,2.6), (1.7025,2.13,2.955,2.195), (2.9225,2.13,2.9875,2.195), (2.64,2.27,2.705,2.335), (1.355,2.5675,1.42,2.6325), (1.3875,2.5675,1.7025,2.6325), (0,2.6975,4.4425,2.7625), (0,2.6975,4.4425,2.7625), (2.64,3.125,2.705,3.19), (2.1225,3.265,2.955,3.33), (2.9225,3.265,2.9875,3.33), (0.455,3.335,0.84,3.4), (0.8075,3.335,0.8725,3.4), (1.0725,3.335,1.1375,3.4), (1.105,3.335,1.3875,3.4), (1.355,3.335,1.42,3.4), (4.095,3.335,4.16,3.4), (1.355,3.3675,1.42,3.965), (1.8425,3.405,3.2375,3.47), (3.205,3.405,3.27,3.47), (1.355,3.9325,1.42,3.9975), (1.3875,3.9325,1.8425,3.9975), (0,4.0625,4.4425,4.1275), (0,4.0625,4.4425,4.1275), (1.8425,4.72,3.2375,4.785), (3.205,4.72,3.27,4.785), (4.095,4.79,4.16,4.855), (2.1225,4.86,2.955,4.925), (2.9225,4.86,2.9875,4.925), (2.64,5,2.705,5.065), (0,5.4275,4.4425,5.4925), (0,5.4275,4.4425,5.4925), (2.64,5.855,2.705,5.92), (1.7025,5.995,2.955,6.06), (2.9225,5.995,2.9875,6.06), (4.095,6.065,4.16,6.13), (2.2625,6.135,3.2375,6.2), (3.205,6.135,3.27,6.2), (0,6.7925,4.4425,6.8575), (0,6.7925,4.4425,6.8575), (2.2625,7.45,3.2375,7.515), (3.205,7.45,3.27,7.515), (4.095,7.52,4.16,7.585), (1.7025,7.59,2.955,7.655), (2.9225,7.59,2.9875,7.655), (2.64,7.73,2.705,7.795), (0,8.1575,4.4425,8.2225), (0,8.1575,4.4425,8.2225), (2.64,8.585,2.705,8.65), (2.1225,8.725,2.955,8.79), (2.9225,8.725,2.9875,8.79), (4.095,8.795,4.16,8.86), (2.2625,8.865,3.2375,8.93), (3.205,8.865,3.27,8.93), (0,9.5225,4.4425,9.5875), (0,9.5225,4.4425,9.5875), (0.455,10.18,2.2625,10.245), (2.2625,10.18,3.2375,10.245), (3.205,10.18,3.27,10.245), (4.095,10.25,4.16,10.315), (0.315,10.32,2.1225,10.385), (2.1225,10.32,2.955,10.385), (2.9225,10.32,2.9875,10.385), (0.175,10.46,1.9825,10.525), (2.64,10.46,2.705,10.525), (0,10.8875,4.4425,10.9525)])
A(c_sram_32b_64_1rw_freepdk4________________, metal2, 0.14, 0.14, 0.07, 10.78, 3, 1, 0.14, 0)
A(c_sram_32b_64_1rw_freepdk4________________, metal2, 1.5275, 0.14, 0.07, 10.78, 6, 1, 0.14, 0)
R(c_sram_32b_64_1rw_freepdk4________________, metal2, [(0.14,0.57,0.21,0.705), (0.28,2.025,0.35,2.16), (0.42,3.3,0.49,3.435)])
A(c_sram_32b_64_1rw_freepdk4________________, metal3, 0.5625, -0.0675, 0.135, 0.135, 1, 5, 0, 2.73)
A(c_sram_32b_64_1rw_freepdk4________________, metal3, 2.37, 1.2975, 0.135, 0.135, 1, 4, 0, 2.73)
R(c_sram_32b_64_1rw_freepdk4________________, boundary2, [(0,0,4.4425,10.92)])
c_sram_32b_64_1rw_freepdk4________________.add(gdstk.Reference(c_sram_32b_64_1rw_freepdk4______, (0.7,0)))
c_sram_32b_64_1rw_freepdk4________________.add(gdstk.Reference(c_sram_32b_64_1rw_freepdk4______, (0.7,2.73), x_reflection=True))
c_sram_32b_64_1rw_freepdk4________________.add(gdstk.Reference(c_sram_32b_64_1rw_freepdk4______, (0.7,2.73)))
c_sram_32b_64_1rw_freepdk4________________.add(gdstk.Reference(c_sram_32b_64_1rw_freepdk4____________, (2.5075,0)))
c_sram_32b_64_1rw_freepdk4________________.add(gdstk.Reference(c_sram_32b_64_1rw_freepdk4____________, (2.5075,2.73), x_reflection=True))
c_sram_32b_64_1rw_freepdk4________________.add(gdstk.Reference(c_sram_32b_64_1rw_freepdk4____________, (2.5075,2.73)))
c_sram_32b_64_1rw_freepdk4________________.add(gdstk.Reference(c_sram_32b_64_1rw_freepdk4____________, (2.5075,5.46), x_reflection=True))
c_sram_32b_64_1rw_freepdk4________________.add(gdstk.Reference(c_sram_32b_64_1rw_freepdk4____________, (2.5075,5.46)))
c_sram_32b_64_1rw_freepdk4________________.add(gdstk.Reference(c_sram_32b_64_1rw_freepdk4____________, (2.5075,8.19), x_reflection=True))
c_sram_32b_64_1rw_freepdk4________________.add(gdstk.Reference(c_sram_32b_64_1rw_freepdk4____________, (2.5075,8.19)))
c_sram_32b_64_1rw_freepdk4________________.add(gdstk.Reference(c_sram_32b_64_1rw_freepdk4____________, (2.5075,10.92), x_reflection=True))
c_sram_32b_64_1rw_freepdk4________________.add(gdstk.Reference(c_sram_32b_64_1rw_freepdk4_____________, (0.1075,0.57)))
c_sram_32b_64_1rw_freepdk4________________.add(gdstk.Reference(c_sram_32b_64_1rw_freepdk4_____________, (0.2475,2.025)))
c_sram_32b_64_1rw_freepdk4________________.add(gdstk.Reference(c_sram_32b_64_1rw_freepdk4_____________, (0.3875,3.3)))
c_sram_32b_64_1rw_freepdk4________________.add(gdstk.Reference(c_sram_32b_64_1rw_freepdk4_____________, (1.495,0.36)))
c_sram_32b_64_1rw_freepdk4________________.add(gdstk.Reference(c_sram_32b_64_1rw_freepdk4_____________, (1.635,0.5)))
c_sram_32b_64_1rw_freepdk4________________.add(gdstk.Reference(c_sram_32b_64_1rw_freepdk4_____________, (1.775,0.64)))
c_sram_32b_64_1rw_freepdk4________________.add(gdstk.Reference(c_sram_32b_64_1rw_freepdk4_____________, (1.915,2.235)))
c_sram_32b_64_1rw_freepdk4________________.add(gdstk.Reference(c_sram_32b_64_1rw_freepdk4_____________, (1.635,2.095)))
c_sram_32b_64_1rw_freepdk4________________.add(gdstk.Reference(c_sram_32b_64_1rw_freepdk4_____________, (1.775,1.955)))
c_sram_32b_64_1rw_freepdk4________________.add(gdstk.Reference(c_sram_32b_64_1rw_freepdk4_____________, (1.495,3.09)))
c_sram_32b_64_1rw_freepdk4________________.add(gdstk.Reference(c_sram_32b_64_1rw_freepdk4_____________, (2.055,3.23)))
c_sram_32b_64_1rw_freepdk4________________.add(gdstk.Reference(c_sram_32b_64_1rw_freepdk4_____________, (1.775,3.37)))
c_sram_32b_64_1rw_freepdk4________________.add(gdstk.Reference(c_sram_32b_64_1rw_freepdk4_____________, (1.915,4.965)))
c_sram_32b_64_1rw_freepdk4________________.add(gdstk.Reference(c_sram_32b_64_1rw_freepdk4_____________, (2.055,4.825)))
c_sram_32b_64_1rw_freepdk4________________.add(gdstk.Reference(c_sram_32b_64_1rw_freepdk4_____________, (1.775,4.685)))
c_sram_32b_64_1rw_freepdk4________________.add(gdstk.Reference(c_sram_32b_64_1rw_freepdk4_____________, (1.495,5.82)))
c_sram_32b_64_1rw_freepdk4________________.add(gdstk.Reference(c_sram_32b_64_1rw_freepdk4_____________, (1.635,5.96)))
c_sram_32b_64_1rw_freepdk4________________.add(gdstk.Reference(c_sram_32b_64_1rw_freepdk4_____________, (2.195,6.1)))
c_sram_32b_64_1rw_freepdk4________________.add(gdstk.Reference(c_sram_32b_64_1rw_freepdk4_____________, (1.915,7.695)))
c_sram_32b_64_1rw_freepdk4________________.add(gdstk.Reference(c_sram_32b_64_1rw_freepdk4_____________, (1.635,7.555)))
c_sram_32b_64_1rw_freepdk4________________.add(gdstk.Reference(c_sram_32b_64_1rw_freepdk4_____________, (2.195,7.415)))
c_sram_32b_64_1rw_freepdk4________________.add(gdstk.Reference(c_sram_32b_64_1rw_freepdk4_____________, (1.495,8.55)))
c_sram_32b_64_1rw_freepdk4________________.add(gdstk.Reference(c_sram_32b_64_1rw_freepdk4_____________, (2.055,8.69)))
c_sram_32b_64_1rw_freepdk4________________.add(gdstk.Reference(c_sram_32b_64_1rw_freepdk4_____________, (2.195,8.83)))
c_sram_32b_64_1rw_freepdk4________________.add(gdstk.Reference(c_sram_32b_64_1rw_freepdk4_____________, (1.915,10.425)))
c_sram_32b_64_1rw_freepdk4________________.add(gdstk.Reference(c_sram_32b_64_1rw_freepdk4_____________, (2.055,10.285)))
c_sram_32b_64_1rw_freepdk4________________.add(gdstk.Reference(c_sram_32b_64_1rw_freepdk4_____________, (2.195,10.145)))
c_sram_32b_64_1rw_freepdk4________________.add(gdstk.Reference(c_sram_32b_64_1rw_freepdk4_____________, (1.495,1.1675)))
c_sram_32b_64_1rw_freepdk4________________.add(gdstk.Reference(c_sram_32b_64_1rw_freepdk4_____________, (1.635,2.5325)))
c_sram_32b_64_1rw_freepdk4________________.add(gdstk.Reference(c_sram_32b_64_1rw_freepdk4_____________, (1.775,3.8975)))
c_sram_32b_64_1rw_freepdk4________________.add(gdstk.Reference(c_sram_32b_64_1rw_freepdk4______________, (0.1075,10.425)))
c_sram_32b_64_1rw_freepdk4________________.add(gdstk.Reference(c_sram_32b_64_1rw_freepdk4______________, (1.915,10.425)))
c_sram_32b_64_1rw_freepdk4________________.add(gdstk.Reference(c_sram_32b_64_1rw_freepdk4______________, (0.2475,10.285)))
c_sram_32b_64_1rw_freepdk4________________.add(gdstk.Reference(c_sram_32b_64_1rw_freepdk4______________, (2.055,10.285)))
c_sram_32b_64_1rw_freepdk4________________.add(gdstk.Reference(c_sram_32b_64_1rw_freepdk4______________, (0.3875,10.145)))
c_sram_32b_64_1rw_freepdk4________________.add(gdstk.Reference(c_sram_32b_64_1rw_freepdk4______________, (2.195,10.145)))
c_sram_32b_64_1rw_freepdk4________________.add(gdstk.Reference(c_sram_32b_64_1rw_freepdk4______________, (2.37,1.2975)))
c_sram_32b_64_1rw_freepdk4________________.add(gdstk.Reference(c_sram_32b_64_1rw_freepdk4_______________, (2.37,1.2975)))
c_sram_32b_64_1rw_freepdk4________________.add(gdstk.Reference(c_sram_32b_64_1rw_freepdk4______________, (0.5625,-0.0675)))
c_sram_32b_64_1rw_freepdk4________________.add(gdstk.Reference(c_sram_32b_64_1rw_freepdk4_______________, (0.5625,-0.0675)))
c_sram_32b_64_1rw_freepdk4________________.add(gdstk.Reference(c_sram_32b_64_1rw_freepdk4______________, (2.37,1.2975)))
c_sram_32b_64_1rw_freepdk4________________.add(gdstk.Reference(c_sram_32b_64_1rw_freepdk4_______________, (2.37,1.2975)))
c_sram_32b_64_1rw_freepdk4________________.add(gdstk.Reference(c_sram_32b_64_1rw_freepdk4______________, (0.5625,2.6625)))
c_sram_32b_64_1rw_freepdk4________________.add(gdstk.Reference(c_sram_32b_64_1rw_freepdk4_______________, (0.5625,2.6625)))
c_sram_32b_64_1rw_freepdk4________________.add(gdstk.Reference(c_sram_32b_64_1rw_freepdk4______________, (2.37,4.0275)))
c_sram_32b_64_1rw_freepdk4________________.add(gdstk.Reference(c_sram_32b_64_1rw_freepdk4_______________, (2.37,4.0275)))
c_sram_32b_64_1rw_freepdk4________________.add(gdstk.Reference(c_sram_32b_64_1rw_freepdk4______________, (0.5625,2.6625)))
c_sram_32b_64_1rw_freepdk4________________.add(gdstk.Reference(c_sram_32b_64_1rw_freepdk4_______________, (0.5625,2.6625)))
c_sram_32b_64_1rw_freepdk4________________.add(gdstk.Reference(c_sram_32b_64_1rw_freepdk4______________, (2.37,4.0275)))
c_sram_32b_64_1rw_freepdk4________________.add(gdstk.Reference(c_sram_32b_64_1rw_freepdk4_______________, (2.37,4.0275)))
c_sram_32b_64_1rw_freepdk4________________.add(gdstk.Reference(c_sram_32b_64_1rw_freepdk4______________, (0.5625,5.3925)))
c_sram_32b_64_1rw_freepdk4________________.add(gdstk.Reference(c_sram_32b_64_1rw_freepdk4_______________, (0.5625,5.3925)))
c_sram_32b_64_1rw_freepdk4________________.add(gdstk.Reference(c_sram_32b_64_1rw_freepdk4______________, (2.37,6.7575)))
c_sram_32b_64_1rw_freepdk4________________.add(gdstk.Reference(c_sram_32b_64_1rw_freepdk4_______________, (2.37,6.7575)))
c_sram_32b_64_1rw_freepdk4________________.add(gdstk.Reference(c_sram_32b_64_1rw_freepdk4______________, (0.5625,5.3925)))
c_sram_32b_64_1rw_freepdk4________________.add(gdstk.Reference(c_sram_32b_64_1rw_freepdk4_______________, (0.5625,5.3925)))
c_sram_32b_64_1rw_freepdk4________________.add(gdstk.Reference(c_sram_32b_64_1rw_freepdk4______________, (2.37,6.7575)))
c_sram_32b_64_1rw_freepdk4________________.add(gdstk.Reference(c_sram_32b_64_1rw_freepdk4_______________, (2.37,6.7575)))
c_sram_32b_64_1rw_freepdk4________________.add(gdstk.Reference(c_sram_32b_64_1rw_freepdk4______________, (0.5625,8.1225)))
c_sram_32b_64_1rw_freepdk4________________.add(gdstk.Reference(c_sram_32b_64_1rw_freepdk4_______________, (0.5625,8.1225)))
c_sram_32b_64_1rw_freepdk4________________.add(gdstk.Reference(c_sram_32b_64_1rw_freepdk4______________, (2.37,9.4875)))
c_sram_32b_64_1rw_freepdk4________________.add(gdstk.Reference(c_sram_32b_64_1rw_freepdk4_______________, (2.37,9.4875)))
c_sram_32b_64_1rw_freepdk4________________.add(gdstk.Reference(c_sram_32b_64_1rw_freepdk4______________, (0.5625,8.1225)))
c_sram_32b_64_1rw_freepdk4________________.add(gdstk.Reference(c_sram_32b_64_1rw_freepdk4_______________, (0.5625,8.1225)))
c_sram_32b_64_1rw_freepdk4________________.add(gdstk.Reference(c_sram_32b_64_1rw_freepdk4______________, (2.37,9.4875)))
c_sram_32b_64_1rw_freepdk4________________.add(gdstk.Reference(c_sram_32b_64_1rw_freepdk4_______________, (2.37,9.4875)))
c_sram_32b_64_1rw_freepdk4________________.add(gdstk.Reference(c_sram_32b_64_1rw_freepdk4______________, (0.5625,10.8525)))
c_sram_32b_64_1rw_freepdk4________________.add(gdstk.Reference(c_sram_32b_64_1rw_freepdk4_______________, (0.5625,10.8525)))
c_sram_32b_64_1rw_freepdk4________________.add(gdstk.Label('in_0', (0.175,0.6375), layer=13, texttype=0))
c_sram_32b_64_1rw_freepdk4________________.add(gdstk.Label('in_1', (0.315,2.0925), layer=13, texttype=0))
c_sram_32b_64_1rw_freepdk4________________.add(gdstk.Label('in_2', (0.455,3.3675), layer=13, texttype=0))
c_sram_32b_64_1rw_freepdk4________________.add(gdstk.Label('out_0', (4.1275,0.6375), layer=11, texttype=0))
c_sram_32b_64_1rw_freepdk4________________.add(gdstk.Label('out_1', (4.1275,2.0925), layer=11, texttype=0))
c_sram_32b_64_1rw_freepdk4________________.add(gdstk.Label('out_2', (4.1275,3.3675), layer=11, texttype=0))
c_sram_32b_64_1rw_freepdk4________________.add(gdstk.Label('out_3', (4.1275,4.8225), layer=11, texttype=0))
c_sram_32b_64_1rw_freepdk4________________.add(gdstk.Label('out_4', (4.1275,6.0975), layer=11, texttype=0))
c_sram_32b_64_1rw_freepdk4________________.add(gdstk.Label('out_5', (4.1275,7.5525), layer=11, texttype=0))
c_sram_32b_64_1rw_freepdk4________________.add(gdstk.Label('out_6', (4.1275,8.8275), layer=11, texttype=0))
c_sram_32b_64_1rw_freepdk4________________.add(gdstk.Label('out_7', (4.1275,10.2825), layer=11, texttype=0))
c_sram_32b_64_1rw_freepdk4________________.add(gdstk.Label('vdd', (2.4375,9.555), layer=15, texttype=0))
c_sram_32b_64_1rw_freepdk4________________.add(gdstk.Label('vdd', (2.4375,4.095), layer=15, texttype=0))
c_sram_32b_64_1rw_freepdk4________________.add(gdstk.Label('vdd', (2.4375,1.365), layer=15, texttype=0))
c_sram_32b_64_1rw_freepdk4________________.add(gdstk.Label('vdd', (2.4375,6.825), layer=15, texttype=0))
c_sram_32b_64_1rw_freepdk4________________.add(gdstk.Label('gnd', (0.63,0), layer=15, texttype=0))
c_sram_32b_64_1rw_freepdk4________________.add(gdstk.Label('gnd', (0.63,5.46), layer=15, texttype=0))
c_sram_32b_64_1rw_freepdk4________________.add(gdstk.Label('gnd', (0.63,10.92), layer=15, texttype=0))
c_sram_32b_64_1rw_freepdk4________________.add(gdstk.Label('gnd', (0.63,8.19), layer=15, texttype=0))
c_sram_32b_64_1rw_freepdk4________________.add(gdstk.Label('gnd', (0.63,2.73), layer=15, texttype=0))

lib.write_gds('sram_32b_64_1rw_freepdk45_hierarchical_predecode3x8.gds')
